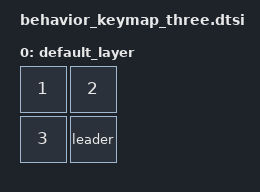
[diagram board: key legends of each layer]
#include <dt-bindings/zmk/keys.h>
#include <behaviors.dtsi>
#include <dt-bindings/zmk/kscan_mock.h>

&leader {
	timeout-ms = <200>;
	timeout-on-activation;
};

/ {
	leader-sequences {
		compatible = "zmk,leader-sequences";

		leader_seq_one {
			key-positions = <0 1 2>;
			bindings = <&kp A>;
		};

	};

	keymap {
		compatible = "zmk,keymap";
		label ="Default keymap";

		default_layer {
			bindings = <
				&kp N1 &kp N2
				&kp N3 &leader
			>;
		};
	};
};
